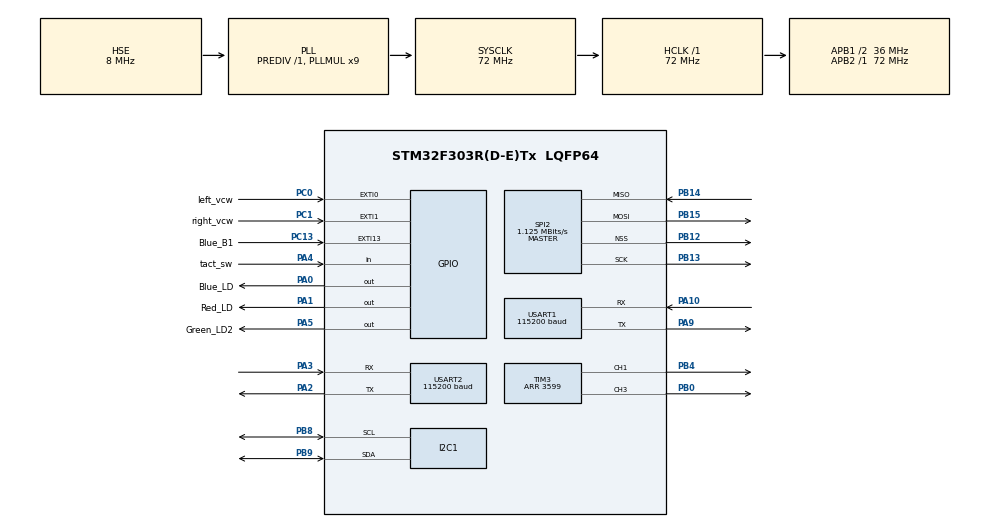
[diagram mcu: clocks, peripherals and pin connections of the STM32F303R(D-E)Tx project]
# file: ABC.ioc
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Dma.Request0=USART2_RX
Dma.Request1=USART2_TX
Dma.Request2=USART1_RX
Dma.Request3=USART1_TX
Dma.USART1_RX.2.Direction=DMA_PERIPH_TO_MEMORY
Dma.USART1_RX.2.Instance=DMA1_Channel5
Dma.USART1_RX.2.MemDataAlignment=DMA_MDATAALIGN_BYTE
Dma.USART1_RX.2.MemInc=DMA_MINC_ENABLE
Dma.USART1_RX.2.Mode=DMA_NORMAL
Dma.USART1_RX.2.PeriphDataAlignment=DMA_PDATAALIGN_BYTE
Dma.USART1_RX.2.PeriphInc=DMA_PINC_DISABLE
Dma.USART1_RX.2.Priority=DMA_PRIORITY_LOW
Dma.USART1_TX.3.Direction=DMA_MEMORY_TO_PERIPH
Dma.USART1_TX.3.Instance=DMA1_Channel4
Dma.USART1_TX.3.MemDataAlignment=DMA_MDATAALIGN_BYTE
Dma.USART1_TX.3.MemInc=DMA_MINC_ENABLE
Dma.USART1_TX.3.Mode=DMA_NORMAL
Dma.USART1_TX.3.PeriphDataAlignment=DMA_PDATAALIGN_BYTE
Dma.USART1_TX.3.PeriphInc=DMA_PINC_DISABLE
Dma.USART1_TX.3.Priority=DMA_PRIORITY_LOW
Dma.USART2_RX.0.Direction=DMA_PERIPH_TO_MEMORY
Dma.USART2_RX.0.Instance=DMA1_Channel6
Dma.USART2_RX.0.MemDataAlignment=DMA_MDATAALIGN_BYTE
Dma.USART2_RX.0.MemInc=DMA_MINC_ENABLE
Dma.USART2_RX.0.Mode=DMA_NORMAL
Dma.USART2_RX.0.PeriphDataAlignment=DMA_PDATAALIGN_BYTE
Dma.USART2_RX.0.PeriphInc=DMA_PINC_DISABLE
Dma.USART2_RX.0.Priority=DMA_PRIORITY_LOW
Dma.USART2_TX.1.Direction=DMA_MEMORY_TO_PERIPH
Dma.USART2_TX.1.Instance=DMA1_Channel7
Dma.USART2_TX.1.MemDataAlignment=DMA_MDATAALIGN_BYTE
Dma.USART2_TX.1.MemInc=DMA_MINC_ENABLE
Dma.USART2_TX.1.Mode=DMA_NORMAL
Dma.USART2_TX.1.PeriphDataAlignment=DMA_PDATAALIGN_BYTE
Dma.USART2_TX.1.PeriphInc=DMA_PINC_DISABLE
Dma.USART2_TX.1.Priority=DMA_PRIORITY_LOW
Mcu.Family=STM32F3
Mcu.Name=STM32F303R(D-E)Tx
Mcu.Package=LQFP64
NVIC.DMA1_Channel4_IRQn=true\:0\:0\:false\:false\:true\:false\:true\:true
NVIC.DMA1_Channel5_IRQn=true\:0\:0\:false\:false\:true\:false\:true\:true
NVIC.DMA1_Channel6_IRQn=true\:0\:0\:false\:false\:true\:false\:true\:true
NVIC.DMA1_Channel7_IRQn=true\:0\:0\:false\:false\:true\:false\:true\:true
NVIC.EXTI0_IRQn=true\:0\:0\:false\:false\:true\:true\:true\:true
NVIC.EXTI15_10_IRQn=true\:0\:0\:false\:false\:true\:true\:true\:true
NVIC.EXTI1_IRQn=true\:0\:0\:false\:false\:true\:true\:true\:true
NVIC.PriorityGroup=NVIC_PRIORITYGROUP_4
NVIC.SPI2_IRQn=true\:0\:0\:false\:false\:true\:true\:true\:true
NVIC.USART1_IRQn=true\:0\:0\:false\:false\:true\:true\:true\:true
NVIC.USART2_IRQn=true\:0\:0\:false\:false\:true\:true\:true\:true
PA0.GPIO_Label=Blue_LD
PA0.GPIO_ModeDefaultOutputPP=GPIO_MODE_OUTPUT_OD
PA0.GPIO_PuPd=GPIO_NOPULL
PA0.PinState=GPIO_PIN_RESET
PA0.Signal=GPIO_Output
PA1.GPIO_Label=Red_LD
PA1.GPIO_ModeDefaultOutputPP=GPIO_MODE_OUTPUT_OD
PA1.GPIO_PuPd=GPIO_NOPULL
PA1.Signal=GPIO_Output
PA10.Mode=Asynchronous
PA10.Signal=USART1_RX
PA13.Mode=Trace_Asynchronous_SW
PA13.Signal=SYS_JTMS-SWDIO
PA14.Mode=Trace_Asynchronous_SW
PA14.Signal=SYS_JTCK-SWCLK
PA2.Mode=Asynchronous
PA2.Signal=USART2_TX
PA3.Mode=Asynchronous
PA3.Signal=USART2_RX
PA4.GPIO_Label=tact_sw
PA4.Signal=GPIO_Input
PA5.GPIO_Label=Green_LD2
PA5.Signal=GPIO_Output
PA9.Mode=Asynchronous
PA9.Signal=USART1_TX
PB0.Signal=S_TIM3_CH3
PB12.Mode=NSS_Signal_Hard_Output
PB12.Signal=SPI2_NSS
PB13.Mode=Full_Duplex_Master
PB13.Signal=SPI2_SCK
PB14.Mode=Full_Duplex_Master
PB14.Signal=SPI2_MISO
PB15.Mode=Full_Duplex_Master
PB15.Signal=SPI2_MOSI
PB3.Mode=Trace_Asynchronous_SW
PB3.Signal=SYS_JTDO-TRACESWO
PB4.Signal=S_TIM3_CH1
PB8.Mode=I2C
PB8.Signal=I2C1_SCL
PB9.Mode=I2C
PB9.Signal=I2C1_SDA
PC0.GPIO_Label=left_vcw
PC0.GPIO_ModeDefaultEXTI=GPIO_MODE_IT_RISING_FALLING
PC0.Signal=GPXTI0
PC1.GPIO_Label=right_vcw
PC1.GPIO_ModeDefaultEXTI=GPIO_MODE_IT_RISING_FALLING
PC1.Signal=GPXTI1
PC13.GPIO_Label=Blue_B1
PC13.GPIO_ModeDefaultEXTI=GPIO_MODE_IT_FALLING
PC13.Signal=GPXTI13
PC14-OSC32_IN.Mode=LSE-External-Oscillator
PC14-OSC32_IN.Signal=RCC_OSC32_IN
PC15-OSC32_OUT.Mode=LSE-External-Oscillator
PC15-OSC32_OUT.Signal=RCC_OSC32_OUT
PF0-OSC_IN.Mode=HSE-External-Clock-Source
PF0-OSC_IN.Signal=RCC_OSC_IN
ProjectManager.HeapSize=0x200
ProjectManager.StackSize=0x400
ProjectManager.TargetToolchain=STM32CubeIDE
RCC.AHBFreq_Value=72000000
RCC.APB1CLKDivider=RCC_HCLK_DIV2
RCC.APB1Freq_Value=36000000
RCC.APB1TimFreq_Value=72000000
RCC.APB2Freq_Value=72000000
RCC.APB2TimFreq_Value=72000000
RCC.CortexFreq_Value=72000000
RCC.HCLKFreq_Value=72000000
RCC.HSE_VALUE=8000000
RCC.HSI_VALUE=8000000
RCC.PLLMUL=RCC_PLL_MUL9
RCC.PLLSourceVirtual=RCC_PLLSOURCE_HSE
RCC.SYSCLKFreq_VALUE=72000000
RCC.SYSCLKSourceVirtual=RCC_SYSCLKSOURCE_PLLCLK
RCC.USBFreq_Value=72000000
SH.S_TIM3_CH1.0=TIM3_CH1,PWM Generation1 CH1
SH.S_TIM3_CH3.0=TIM3_CH3,PWM Generation3 CH3
SPI2.BaudRatePrescaler=SPI_BAUDRATEPRESCALER_32
SPI2.CLKPhase=SPI_PHASE_2EDGE
SPI2.CLKPolarity=SPI_POLARITY_HIGH
SPI2.CalculateBaudRate=1.125 MBits/s
SPI2.DataSize=SPI_DATASIZE_8BIT
SPI2.Direction=SPI_DIRECTION_2LINES
SPI2.Mode=SPI_MODE_MASTER
SPI2.VirtualNSS=VM_NSSHARD
SPI2.VirtualType=VM_MASTER
TIM3.AutoReloadPreload=TIM_AUTORELOAD_PRELOAD_ENABLE
TIM3.Channel-PWM\ Generation1\ CH1=TIM_CHANNEL_1
TIM3.Channel-PWM\ Generation3\ CH3=TIM_CHANNEL_3
TIM3.OC1Preload_PWM=DISABLE
TIM3.OC3Preload_PWM=DISABLE
TIM3.Period=3599
TIM3.Pulse-PWM\ Generation1\ CH1=900
TIM3.Pulse-PWM\ Generation3\ CH3=900
USART1.BaudRate=115200
USART1.VirtualMode-Asynchronous=VM_ASYNC
USART2.BaudRate=115200
USART2.VirtualMode-Asynchronous=VM_ASYNC
VP_TIM3_VS_ClockSourceINT.Mode=Internal
board=custom

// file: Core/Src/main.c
/* USER CODE BEGIN Header */
/**
  ******************************************************************************
  * @file           : main.c
  * @brief          : Main program body
  ******************************************************************************
  * @attention
  *
  * Copyright (c) 2022 STMicroelectronics.
  * All rights reserved.
  *
  * This software is licensed under terms that can be found in the LICENSE file
  * in the root directory of this software component.
  * If no LICENSE file comes with this software, it is provided AS-IS.
  *
  ******************************************************************************
  */
/* USER CODE END Header */
#include "main.h"

/* USER CODE BEGIN Includes */
#include <stdio.h>
#include <string.h>
#include <ctype.h>
#include "liquidcrystal_i2c.h"
//#include "esp_webserver_html.h"
#include "esp_webserver_uart_ring_buffer_pixy.h"
/* USER CODE END Includes */

/* USER CODE BEGIN PD */
#define LONG_DELAY 1000 // 1 second delay
#define MEDIUM_DELAY 500 // 0.5 seconds delay
#define SHORT_DELAY 250 // 0.25 seconds delay

/* USER CODE END PD */

I2C_HandleTypeDef hi2c1;

SPI_HandleTypeDef hspi2;

TIM_HandleTypeDef htim3;

UART_HandleTypeDef huart1;
UART_HandleTypeDef huart2;
DMA_HandleTypeDef hdma_usart1_rx;
DMA_HandleTypeDef hdma_usart1_tx;
DMA_HandleTypeDef hdma_usart2_rx;
DMA_HandleTypeDef hdma_usart2_tx;

/* USER CODE BEGIN PV */
volatile uint16_t delay_value = LONG_DELAY; // 1 second blink

uint8_t buffArray[2][MaxBufferSize]; 	// buffer[0,*] is for UART1
										// buffer[1,*] is for UART2
uint8_t spiBuffArray[MaxSpiSize];		// buffer for SPI2 Rx
uint8_t stateMachine = TEST;	// Initialize State Machine at TEST mode
uint16_t autoServerSize = 0;
uint8_t buffer[4500]="";
uint8_t tpixBuffer[26]="";	// SPI2 C_Passed/C_Failed
uint8_t leftmotbuff[20] = "";
uint8_t rightmotbuff[20] = "";

uint32_t BufferTick;
PixyState pixyState;
UartState uartState[2];
StateFlags stateFlag;
WebRequest webRequest;
MotorState motorState;
MotorCmd motorCmd;
VCWState leftVCW;
VCWState rightVCW;
PIDState pidState;

/* Hexadecimal Arrays for Pixy Commands */
uint8_t pixyGetVersion[4] 		      = {0xAE, 0xC1, 0x0E, 0x00};
uint8_t pixySetLamp[6] 			      = {0xAE, 0xC1, 0x16, 0x02, 0x01, 0x01};
uint8_t pixyGetMainFeatures[6] 	      = {0xAE, 0xC1, 0x30, 0x02, 0x00, 0x07};
uint8_t pixyGetAllFeatures[6] 	      = {0xAE, 0xC1, 0x30, 0x02, 0x01, 0x07};
uint8_t pixyIntersectionTurnLeft[6]   = {0xAE, 0xC1, 0x3A, 0x02, 0x3C, 0x00};
uint8_t pixyIntersectionTurnRight[6]  = {0xAE, 0xC1, 0x3A, 0x02, 0xC4, 0xFF};
uint8_t pixyIntersectionGoStraight[6] = {0xAE, 0xC1, 0x3A, 0x02, 0x00, 0x00};

uint8_t pixySetLampFlag = FALSE;
/* USER CODE END PV */

void SystemClock_Config(void);
static void MX_GPIO_Init(void);
static void MX_DMA_Init(void);
static void MX_USART2_UART_Init(void);
static void MX_USART1_UART_Init(void);
static void MX_I2C1_Init(void);
static void MX_SPI2_Init(void);
static void MX_TIM3_Init(void);
/* USER CODE BEGIN PFP */
int _write(int file, char *ptr, int len);
void GetExpiryValTick(uint32_t * maxTickVal, uint32_t delayMs);
/* USER CODE END PFP */

/* USER CODE BEGIN 0 */
int _write(int file, char *ptr, int len)
{
	int DataIdx;

	for (DataIdx = 0; DataIdx < len; DataIdx++)
	{
		//__io_putchar(*ptr++);
		ITM_SendChar(*ptr++);
	}
	return len;
}
void HAL_GPIO_EXTI_Callback(uint16_t GPIO_Pin)
{
	switch(GPIO_Pin) {
		case Blue_B1_Pin:
			//UNUSED(GPIO_Pin);
			 switch (delay_value) {
				  case LONG_DELAY: delay_value = MEDIUM_DELAY;break;
				  case MEDIUM_DELAY: delay_value = SHORT_DELAY;break;
				  default: delay_value = LONG_DELAY;break;
			  }
			 printf("The blink duration is %u milliseconds.\n", delay_value);
			 break;

		 case left_vcw_Pin:
			if(HAL_GPIO_ReadPin(left_vcw_GPIO_Port, left_vcw_Pin)){
				leftVCW.RiseCount++;
				leftVCW.RiseTime = uwTick;
//				printf("RiseTime: %d\r\n", leftVCW.RiseTime);
			}else{
				leftVCW.FallCount++;
				leftVCW.TimeDiff = uwTick - leftVCW.RiseTime;
//				printf("TimeDiff: %d\r\n", leftVCW.TimeDiff);
			}
			break;

		case right_vcw_Pin:
			if(HAL_GPIO_ReadPin(right_vcw_GPIO_Port, right_vcw_Pin)){
				rightVCW.RiseCount++;
				rightVCW.RiseTime = uwTick;
			}else{
				rightVCW.FallCount++;
				rightVCW.TimeDiff = uwTick - rightVCW.RiseTime;
			}
			break;
	}
}
void GetExpiryValTick(uint32_t * maxTickVal, uint32_t delayMs){
	uint32_t currentTick = uwTick;
	*maxTickVal = ((0xFFFFFFFF - currentTick) >= delayMs) ? (currentTick + delayMs) : 0xFFFFFFFF ;
}
/* USER CODE END 0 */

int main(void)
{

  /* MCU Configuration--------------------------------------------------------*/

  /* Reset of all peripherals, Initializes the Flash interface and the Systick. */
  HAL_Init();

  /* Configure the system clock */
  SystemClock_Config();

  /* Initialize all configured peripherals */
  MX_GPIO_Init();
  MX_DMA_Init();
  MX_USART2_UART_Init();
  MX_USART1_UART_Init();
  MX_I2C1_Init();
  MX_SPI2_Init();
  MX_TIM3_Init();
  /* USER CODE BEGIN 2 */
  uint32_t ExpiryTick;
  uint32_t AutoTick;

  Uart_Init();
  String_Init(buffer);
  Flag_Init();
  Pixy_Init();
  Motor_Init();

  HD44780_Init(2);
  HD44780_Clear();

  pidState.kp = 0.2;
  motorState.leftSpd = 900;
  motorState.rightSpd = 900;

  uint8_t IPbuffer[200];

  HAL_GPIO_WritePin(Blue_LD_GPIO_Port, Blue_LD_Pin, GPIO_PIN_SET);
  HAL_GPIO_WritePin(Red_LD_GPIO_Port, Red_LD_Pin, GPIO_PIN_SET);

  /* USER CODE END 2 */

  /* Infinite loop */
  /* USER CODE BEGIN WHILE */
  GetExpiryValTick(&AutoTick, 200);
  GetExpiryValTick(&ExpiryTick, (uint32_t) delay_value);
  while (1)
  {
	if (uwTick >= ExpiryTick){
	  HAL_GPIO_TogglePin(Green_LD2_GPIO_Port, Green_LD2_Pin);
	  GetExpiryValTick(&ExpiryTick, (uint32_t) delay_value);

//	  if(stateMachine == AUTO_LISTEN)
//	  {
//		printf("Main Vector XY: %u %u\r\n", pixyState.vectorX, pixyState.vectorY);
//		printf("Barcode ID: %u\r\n", pixyState.barcodeId);
//	  }
	}

	/* If UART Error when Rx, Abort */
	for (uint8_t nUART = 0; nUART <2; nUART++)
	{
		if (uartState[nUART].InError == TRUE)
		{
			printf("UART%d Error Code: \"%lu\" ", (nUART+1), uartState[nUART].huartAdd->ErrorCode);
			PrintError(uartState[nUART].huartAdd->ErrorCode, nUART);
			ClearAllData(nUART);
			memset(uartState[nUART].rxbufferAdd, 0, MaxBufferSize);
	        if(uartState[nUART].huartAdd->ErrorCode >= 0b00010000)
	        {
	        	HAL_DMA_Abort(uartState[nUART].rxdmaAdd);
	        }
	        HAL_UART_AbortReceive(uartState[nUART].huartAdd);
			uartState[nUART].rxState = Idle;
			uartState[nUART].InError = FALSE;
		}
	}

	/* Check for State Machine change prompt */
	if (uartState[UART2].rxState == TestAutoCheck){WordSearch(UART2);}

	/* TEST mode */
	if (stateMachine == TEST)
	{
		for (uint8_t nUART = 0; nUART <2; nUART++)
		{
			/* If RxIdle, Start Rx */
			if (uartState[nUART].rxState == Idle){StartReceiver(nUART);}

			/* If RxGotData & Size != 0 */
			if (uartState[nUART].rxState == GotData && uartState[nUART].dataSize!=0){
				RecordIntoCirc(nUART, FALSE);
				uartState[nUART].rxState = Idle;
			}
		}
		/* If TxIdle & Size > 0 */
		if (uartState[UART1].txState == Idle && uartState[UART2].circArray[uartState[UART2].txCircArrayPtr][Sz] > 0){
			Transmit(UART1, (uartState[UART1].txbufferAdd),uartState[UART2].circArray[uartState[UART2].txCircArrayPtr][Index],uartState[UART2].circArray[uartState[UART2].txCircArrayPtr][Sz], TRUE);
		}
		if (uartState[UART2].txState == Idle && uartState[UART1].circArray[uartState[UART1].txCircArrayPtr][Sz] > 0){
			Transmit(UART2, (uartState[UART2].txbufferAdd),uartState[UART1].circArray[uartState[UART1].txCircArrayPtr][Index],uartState[UART1].circArray[uartState[UART1].txCircArrayPtr][Sz], TRUE);
		}
	}

	/* AUTO mode Flag, call ESP Init */
	if (stateMachine == AUTO_SERVER)
	{
		Auto_Init(IPbuffer);
		if (stateFlag.rxFlag == 15)
		{
			/* if circular buffer completes, change to AUTO mode */
			if (uartState[UART1].rxCircArrayPtr == (uartState[UART1].txCircArrayPtr))
			{
//				ClearAllData(UART1);
				stateMachine = AUTO_LISTEN;
			}
		}

		for (uint8_t nUART = 0; nUART <2; nUART++)
		{
			/* If RxIdle, Start Rx */
			if (uartState[nUART].rxState == Idle){StartReceiver(nUART);}

			/* If RxGotData & Size != 0 */
			if (uartState[nUART].rxState == GotData && uartState[nUART].dataSize!=0){
				RecordIntoCirc(nUART, FALSE);
				uartState[nUART].rxState = Idle;
			}
		}
		/* If TxIdle & Size > 0 */
		if (uartState[UART1].txState == Idle && uartState[UART2].circArray[uartState[UART2].txCircArrayPtr][Sz] > 0){
			Transmit(UART1, (uartState[UART1].txbufferAdd),uartState[UART2].circArray[uartState[UART2].txCircArrayPtr][Index],uartState[UART2].circArray[uartState[UART2].txCircArrayPtr][Sz], TRUE);
		}
		if (uartState[UART2].txState == Idle && uartState[UART1].circArray[uartState[UART1].txCircArrayPtr][Sz] > 0){
			Transmit(UART2, (uartState[UART2].txbufferAdd),uartState[UART1].circArray[uartState[UART1].txCircArrayPtr][Index],uartState[UART1].circArray[uartState[UART1].txCircArrayPtr][Sz], TRUE);
		}
	}

	/* AUTO mode */
	if (stateMachine == AUTO_LISTEN)
	{
		/* If UART1 RxIdle, start Rx */
		if (uartState[UART1].rxState == Idle){StartReceiver(UART1);}

		/* If UART1 RxGotData & Size != 0 */
		if (uartState[UART1].rxState == GotData && uartState[UART1].dataSize!=0){
			RecordIntoCirc(UART1, TRUE);
			uartState[UART1].rxState = Idle;
		}

		/* If UART1 TxIdle */
		if (uartState[UART1].txState == Idle)
		{
			/* If UART1 TxCirc Size = 0 */
			if(uartState[UART1].circArray[uartState[UART1].txCircArrayPtr][Sz] > 0)
			{
				RequestHandle();
			}
		}
		/* If SPI2 Idle */
		if (pixyState.spiState == Idle)
		{
		/* Flush SPI2 Rx Buffer */
			memset(pixyState.rxbufferAdd, 0, MaxSpiSize);

			/* Set dataSize to Max SPI Size */
			pixyState.dataSize = MaxSpiSize;
			if (pixySetLampFlag == TRUE && pixyState.IntersectionDecision!= NONE)
			{
				switch(pixyState.IntersectionDecision)
				{
				case MOVE_FORWARD:
					HAL_SPI_Transmit_IT(pixyState.hspi, pixyState.IntersectionGoStraight, 6);
				case MOVE_LEFT:
					HAL_SPI_Transmit_IT(pixyState.hspi, pixyState.IntersectionTurnLeft, 6);
				case MOVE_RIGHT:
					HAL_SPI_Transmit_IT(pixyState.hspi, pixyState.IntersectionTurnRight, 6);
				}
				pixyState.IntersectionDecision = NONE;
			}
			else if(pixySetLampFlag == TRUE)
			{
//				if (uwTick >= AutoTick){
				/* Transmit GetAllFeatures */
				HAL_SPI_Transmit_IT(pixyState.hspi, pixyState.getAllFeatures, 6);
//				GetExpiryValTick(&AutoTick, (uint32_t) delay_value);
//				}
			}
			else
			{
				/* Transmit SetLamp */
				HAL_SPI_Transmit_IT(pixyState.hspi, pixyState.setLamp, 6);
				pixySetLampFlag = TRUE;
			}

			/* Set SPI2 to Busy */
			pixyState.spiState = Busy;
		}

		if(pixyState.spiState == Busy)
		{
			if(uwTick>=AutoTick)
			{
				HAL_SPI_Abort_IT(&hspi2);
				pixyState.spiState = Idle;
				GetExpiryValTick(&AutoTick, 500);
			}
		}

		/* If SPI2 GotData */
		if(pixyState.spiState == GotData)
		{
			/* Process Data */
			pixyState.spiChecksum = AFC1Search(pixyState.rxbufferAdd, 0, &pixyState.dataSize);

			/* Set SPI2 to Idle */
			pixyState.spiState = Idle;
		}
	}

	/* TPIX mode */
	if (stateMachine == TPIX)
	{
		/* If UART2 RxIdle, start Rx */
		if(uartState[UART2].rxState == Idle){StartReceiver(UART2);}

		/* If UART2 RxGotData */
		if (uartState[UART2].rxState == GotData)
		{
			/* Clear out buffer of Max SPI Size before receiving data */
			for(uint16_t i = uartState[UART2].rxbuffDex + uartState[UART2].dataSize; i < (MaxSpiSize + uartState[UART2].rxbuffDex); i++)
			{
				uartState[UART2].rxbufferAdd[i] = 0;
			}

			/* Set Size to Max SPI Size */
			uartState[UART2].dataSize = MaxSpiSize;
			RecordIntoCirc(UART2, FALSE);
		}

		/* If PixyIdle */
		if (pixyState.spiState == Idle)
		{
			/* If UART2 Circular Buffer is not empty */
			if (uartState[UART2].circArray[uartState[UART2].txCircArrayPtr][Sz]!=0)
			{
				/* Set Size to Max SPI Size */
				uartState[UART1].dataSize = MaxSpiSize;

				/* Transmit and Receive the Max SPI Size */
				HAL_SPI_TransmitReceive_IT(&hspi2, &(uartState[UART2].rxbufferAdd[uartState[UART2].circArray[uartState[UART2].txCircArrayPtr][Index]]), (uartState[UART1].rxbufferAdd + uartState[UART1].rxbuffDex), uartState[UART2].circArray[uartState[UART2].txCircArrayPtr][Sz]);

				/* Set SPI State to Busy */
				pixyState.spiState = Busy;

				/* Set UART2 Circular Buffer to empty */
				uartState[UART2].circArray[uartState[UART2].txCircArrayPtr][Sz] = 0;

				if (uartState[UART2].txCircArrayPtr == (CircSize - 1))
				{
					uartState[UART2].txCircArrayPtr = 0;
				}
				else
				{
					uartState[UART2].txCircArrayPtr+=1;
				}

				if(uartState[UART2].rxState == Wait)
				{
					uartState[UART2].rxState = GotData;
				}
			}
		}

		/* If PixyGotData */
		if (pixyState.spiState == GotData)
		{
			/* Search for header bytes, validate checksum */
			pixyState.spiChecksum = AFC1Search(&(uartState[UART1].rxbufferAdd[uartState[UART1].rxbuffDex]), &uartState[UART1].rxbuffDex, &uartState[UART1].dataSize);

			/* If checksum valid */
			if (pixyState.spiChecksum == 2)
			{
				strcpy((char*)(&(uartState[UART1].rxbufferAdd[uartState[UART1].rxbuffDex + uartState[UART1].dataSize])),(char*)&(tpixBuffer[13]));
			}

			/* If checksum invalid */
			if (pixyState.spiChecksum == 1)
			{
				strcpy((char*)(&(uartState[UART1].rxbufferAdd[uartState[UART1].rxbuffDex + uartState[UART1].dataSize])),(char*)&(tpixBuffer[0]));
			}

			/* If checksum was found */
			if (pixyState.spiChecksum > 0)
			{
				uartState[UART1].dataSize += 12;
				RecordIntoCirc(UART1,FALSE);
			}

			/* Set SPI State to Idle */
			pixyState.spiState = Idle;
		}

		/* If UART2 TxIdle */
		if (uartState[UART2].txState == Idle){
			if(uartState[UART1].circArray[uartState[UART1].txCircArrayPtr][Sz] > 0){
			Transmit(UART2, (uartState[UART2].txbufferAdd),uartState[UART1].circArray[uartState[UART1].txCircArrayPtr][Index],uartState[UART1].circArray[uartState[UART1].txCircArrayPtr][Sz], TRUE);
			}
		}
	}

	if (stateMachine == TMOT)
	{
		/* If UART2 RxIdle, start Rx */
		if (uartState[UART2].rxState == Idle){StartReceiver(UART2);}

		/* If UART2 RxGotData & Size != 0 */
		if (uartState[UART2].rxState == GotData && uartState[UART2].dataSize!=0){
			RecordIntoCirc(UART2, FALSE);
			uartState[UART2].rxState = Idle;
		}

		/* If UART2 TxIdle */
		if (uartState[UART2].txState == Idle && uartState[UART2].circArray[uartState[UART2].txCircArrayPtr][Sz] > 0)
		{
			MotorRequestHandle();
			VCW();
			if (uwTick >= BufferTick)
			{
				PID();
			}
		}
	}
    /* USER CODE END WHILE */

  }
}

void SystemClock_Config(void)
{
  RCC_OscInitTypeDef RCC_OscInitStruct = {0};
  RCC_ClkInitTypeDef RCC_ClkInitStruct = {0};
  RCC_PeriphCLKInitTypeDef PeriphClkInit = {0};

  /** Initializes the RCC Oscillators according to the specified parameters
  * in the RCC_OscInitTypeDef structure.
  */
  RCC_OscInitStruct.OscillatorType = RCC_OSCILLATORTYPE_HSI|RCC_OSCILLATORTYPE_HSE;
  RCC_OscInitStruct.HSEState = RCC_HSE_BYPASS;
  RCC_OscInitStruct.HSIState = RCC_HSI_ON;
  RCC_OscInitStruct.HSICalibrationValue = RCC_HSICALIBRATION_DEFAULT;
  RCC_OscInitStruct.PLL.PLLState = RCC_PLL_ON;
  RCC_OscInitStruct.PLL.PLLSource = RCC_PLLSOURCE_HSE;
  RCC_OscInitStruct.PLL.PLLMUL = RCC_PLL_MUL9;
  RCC_OscInitStruct.PLL.PREDIV = RCC_PREDIV_DIV1;
  if (HAL_RCC_OscConfig(&RCC_OscInitStruct) != HAL_OK)
  {
    Error_Handler();
  }

  /** Initializes the CPU, AHB and APB buses clocks
  */
  RCC_ClkInitStruct.ClockType = RCC_CLOCKTYPE_HCLK|RCC_CLOCKTYPE_SYSCLK
                              |RCC_CLOCKTYPE_PCLK1|RCC_CLOCKTYPE_PCLK2;
  RCC_ClkInitStruct.SYSCLKSource = RCC_SYSCLKSOURCE_PLLCLK;
  RCC_ClkInitStruct.AHBCLKDivider = RCC_SYSCLK_DIV1;
  RCC_ClkInitStruct.APB1CLKDivider = RCC_HCLK_DIV2;
  RCC_ClkInitStruct.APB2CLKDivider = RCC_HCLK_DIV1;

  if (HAL_RCC_ClockConfig(&RCC_ClkInitStruct, FLASH_LATENCY_2) != HAL_OK)
  {
    Error_Handler();
  }
  PeriphClkInit.PeriphClockSelection = RCC_PERIPHCLK_USART1|RCC_PERIPHCLK_USART2
                              |RCC_PERIPHCLK_I2C1|RCC_PERIPHCLK_TIM34;
  PeriphClkInit.Usart1ClockSelection = RCC_USART1CLKSOURCE_PCLK2;
  PeriphClkInit.Usart2ClockSelection = RCC_USART2CLKSOURCE_PCLK1;
  PeriphClkInit.I2c1ClockSelection = RCC_I2C1CLKSOURCE_HSI;
  PeriphClkInit.Tim34ClockSelection = RCC_TIM34CLK_HCLK;
  if (HAL_RCCEx_PeriphCLKConfig(&PeriphClkInit) != HAL_OK)
  {
    Error_Handler();
  }
}

static void MX_I2C1_Init(void)
{

  hi2c1.Instance = I2C1;
  hi2c1.Init.Timing = 0x2000090E;
  hi2c1.Init.OwnAddress1 = 0;
  hi2c1.Init.AddressingMode = I2C_ADDRESSINGMODE_7BIT;
  hi2c1.Init.DualAddressMode = I2C_DUALADDRESS_DISABLE;
  hi2c1.Init.OwnAddress2 = 0;
  hi2c1.Init.OwnAddress2Masks = I2C_OA2_NOMASK;
  hi2c1.Init.GeneralCallMode = I2C_GENERALCALL_DISABLE;
  hi2c1.Init.NoStretchMode = I2C_NOSTRETCH_DISABLE;
  if (HAL_I2C_Init(&hi2c1) != HAL_OK)
  {
    Error_Handler();
  }

  /** Configure Analogue filter
  */
  if (HAL_I2CEx_ConfigAnalogFilter(&hi2c1, I2C_ANALOGFILTER_ENABLE) != HAL_OK)
  {
    Error_Handler();
  }

  /** Configure Digital filter
  */
  if (HAL_I2CEx_ConfigDigitalFilter(&hi2c1, 0) != HAL_OK)
  {
    Error_Handler();
  }

}

static void MX_SPI2_Init(void)
{

  /* SPI2 parameter configuration*/
  hspi2.Instance = SPI2;
  hspi2.Init.Mode = SPI_MODE_MASTER;
  hspi2.Init.Direction = SPI_DIRECTION_2LINES;
  hspi2.Init.DataSize = SPI_DATASIZE_8BIT;
  hspi2.Init.CLKPolarity = SPI_POLARITY_HIGH;
  hspi2.Init.CLKPhase = SPI_PHASE_2EDGE;
  hspi2.Init.NSS = SPI_NSS_HARD_OUTPUT;
  hspi2.Init.BaudRatePrescaler = SPI_BAUDRATEPRESCALER_32;
  hspi2.Init.FirstBit = SPI_FIRSTBIT_MSB;
  hspi2.Init.TIMode = SPI_TIMODE_DISABLE;
  hspi2.Init.CRCCalculation = SPI_CRCCALCULATION_DISABLE;
  hspi2.Init.CRCPolynomial = 7;
  hspi2.Init.CRCLength = SPI_CRC_LENGTH_DATASIZE;
  hspi2.Init.NSSPMode = SPI_NSS_PULSE_DISABLE;
  if (HAL_SPI_Init(&hspi2) != HAL_OK)
  {
    Error_Handler();
  }

}

static void MX_TIM3_Init(void)
{

  TIM_ClockConfigTypeDef sClockSourceConfig = {0};
  TIM_MasterConfigTypeDef sMasterConfig = {0};
  TIM_OC_InitTypeDef sConfigOC = {0};

  htim3.Instance = TIM3;
  htim3.Init.Prescaler = 0;
  htim3.Init.CounterMode = TIM_COUNTERMODE_UP;
  htim3.Init.Period = 3599;
  htim3.Init.ClockDivision = TIM_CLOCKDIVISION_DIV1;
  htim3.Init.AutoReloadPreload = TIM_AUTORELOAD_PRELOAD_ENABLE;
  if (HAL_TIM_Base_Init(&htim3) != HAL_OK)
  {
    Error_Handler();
  }
  sClockSourceConfig.ClockSource = TIM_CLOCKSOURCE_INTERNAL;
  if (HAL_TIM_ConfigClockSource(&htim3, &sClockSourceConfig) != HAL_OK)
  {
    Error_Handler();
  }
  if (HAL_TIM_PWM_Init(&htim3) != HAL_OK)
  {
    Error_Handler();
  }
  sMasterConfig.MasterOutputTrigger = TIM_TRGO_RESET;
  sMasterConfig.MasterSlaveMode = TIM_MASTERSLAVEMODE_DISABLE;
  if (HAL_TIMEx_MasterConfigSynchronization(&htim3, &sMasterConfig) != HAL_OK)
  {
    Error_Handler();
  }
  sConfigOC.OCMode = TIM_OCMODE_PWM1;
  sConfigOC.Pulse = 900;
  sConfigOC.OCPolarity = TIM_OCPOLARITY_HIGH;
  sConfigOC.OCFastMode = TIM_OCFAST_DISABLE;
  if (HAL_TIM_PWM_ConfigChannel(&htim3, &sConfigOC, TIM_CHANNEL_1) != HAL_OK)
  {
    Error_Handler();
  }
  __HAL_TIM_DISABLE_OCxPRELOAD(&htim3, TIM_CHANNEL_1);
  if (HAL_TIM_PWM_ConfigChannel(&htim3, &sConfigOC, TIM_CHANNEL_3) != HAL_OK)
  {
    Error_Handler();
  }
  __HAL_TIM_DISABLE_OCxPRELOAD(&htim3, TIM_CHANNEL_3);
  HAL_TIM_MspPostInit(&htim3);

}

static void MX_USART1_UART_Init(void)
{

  huart1.Instance = USART1;
  huart1.Init.BaudRate = 115200;
  huart1.Init.WordLength = UART_WORDLENGTH_8B;
  huart1.Init.StopBits = UART_STOPBITS_1;
  huart1.Init.Parity = UART_PARITY_NONE;
  huart1.Init.Mode = UART_MODE_TX_RX;
  huart1.Init.HwFlowCtl = UART_HWCONTROL_NONE;
  huart1.Init.OverSampling = UART_OVERSAMPLING_16;
  huart1.Init.OneBitSampling = UART_ONE_BIT_SAMPLE_DISABLE;
  huart1.AdvancedInit.AdvFeatureInit = UART_ADVFEATURE_NO_INIT;
  if (HAL_UART_Init(&huart1) != HAL_OK)
  {
    Error_Handler();
  }

}

static void MX_USART2_UART_Init(void)
{

  huart2.Instance = USART2;
  huart2.Init.BaudRate = 115200;
  huart2.Init.WordLength = UART_WORDLENGTH_8B;
  huart2.Init.StopBits = UART_STOPBITS_1;
  huart2.Init.Parity = UART_PARITY_NONE;
  huart2.Init.Mode = UART_MODE_TX_RX;
  huart2.Init.HwFlowCtl = UART_HWCONTROL_NONE;
  huart2.Init.OverSampling = UART_OVERSAMPLING_16;
  huart2.Init.OneBitSampling = UART_ONE_BIT_SAMPLE_DISABLE;
  huart2.AdvancedInit.AdvFeatureInit = UART_ADVFEATURE_NO_INIT;
  if (HAL_UART_Init(&huart2) != HAL_OK)
  {
    Error_Handler();
  }

}

static void MX_DMA_Init(void)
{

  /* DMA controller clock enable */
  __HAL_RCC_DMA1_CLK_ENABLE();

  /* DMA interrupt init */
  /* DMA1_Channel4_IRQn interrupt configuration */
  HAL_NVIC_SetPriority(DMA1_Channel4_IRQn, 0, 0);
  HAL_NVIC_EnableIRQ(DMA1_Channel4_IRQn);
  /* DMA1_Channel5_IRQn interrupt configuration */
  HAL_NVIC_SetPriority(DMA1_Channel5_IRQn, 0, 0);
  HAL_NVIC_EnableIRQ(DMA1_Channel5_IRQn);
  /* DMA1_Channel6_IRQn interrupt configuration */
  HAL_NVIC_SetPriority(DMA1_Channel6_IRQn, 0, 0);
  HAL_NVIC_EnableIRQ(DMA1_Channel6_IRQn);
  /* DMA1_Channel7_IRQn interrupt configuration */
  HAL_NVIC_SetPriority(DMA1_Channel7_IRQn, 0, 0);
  HAL_NVIC_EnableIRQ(DMA1_Channel7_IRQn);

}

static void MX_GPIO_Init(void)
{
  GPIO_InitTypeDef GPIO_InitStruct = {0};

  /* GPIO Ports Clock Enable */
  __HAL_RCC_GPIOC_CLK_ENABLE();
  __HAL_RCC_GPIOF_CLK_ENABLE();
  __HAL_RCC_GPIOA_CLK_ENABLE();
  __HAL_RCC_GPIOB_CLK_ENABLE();

  /*Configure GPIO pin Output Level */
  HAL_GPIO_WritePin(GPIOA, Blue_LD_Pin|Red_LD_Pin|Green_LD2_Pin, GPIO_PIN_RESET);

  /*Configure GPIO pin : Blue_B1_Pin */
  GPIO_InitStruct.Pin = Blue_B1_Pin;
  GPIO_InitStruct.Mode = GPIO_MODE_IT_FALLING;
  GPIO_InitStruct.Pull = GPIO_NOPULL;
  HAL_GPIO_Init(Blue_B1_GPIO_Port, &GPIO_InitStruct);

  /*Configure GPIO pins : left_vcw_Pin right_vcw_Pin */
  GPIO_InitStruct.Pin = left_vcw_Pin|right_vcw_Pin;
  GPIO_InitStruct.Mode = GPIO_MODE_IT_RISING_FALLING;
  GPIO_InitStruct.Pull = GPIO_NOPULL;
  HAL_GPIO_Init(GPIOC, &GPIO_InitStruct);

  /*Configure GPIO pins : Blue_LD_Pin Red_LD_Pin */
  GPIO_InitStruct.Pin = Blue_LD_Pin|Red_LD_Pin;
  GPIO_InitStruct.Mode = GPIO_MODE_OUTPUT_OD;
  GPIO_InitStruct.Pull = GPIO_NOPULL;
  GPIO_InitStruct.Speed = GPIO_SPEED_FREQ_LOW;
  HAL_GPIO_Init(GPIOA, &GPIO_InitStruct);

  /*Configure GPIO pin : tact_sw_Pin */
  GPIO_InitStruct.Pin = tact_sw_Pin;
  GPIO_InitStruct.Mode = GPIO_MODE_INPUT;
  GPIO_InitStruct.Pull = GPIO_NOPULL;
  HAL_GPIO_Init(tact_sw_GPIO_Port, &GPIO_InitStruct);

  /*Configure GPIO pin : Green_LD2_Pin */
  GPIO_InitStruct.Pin = Green_LD2_Pin;
  GPIO_InitStruct.Mode = GPIO_MODE_OUTPUT_PP;
  GPIO_InitStruct.Pull = GPIO_NOPULL;
  GPIO_InitStruct.Speed = GPIO_SPEED_FREQ_LOW;
  HAL_GPIO_Init(Green_LD2_GPIO_Port, &GPIO_InitStruct);

  /* EXTI interrupt init*/
  HAL_NVIC_SetPriority(EXTI0_IRQn, 0, 0);
  HAL_NVIC_EnableIRQ(EXTI0_IRQn);

  HAL_NVIC_SetPriority(EXTI1_IRQn, 0, 0);
  HAL_NVIC_EnableIRQ(EXTI1_IRQn);

  HAL_NVIC_SetPriority(EXTI15_10_IRQn, 0, 0);
  HAL_NVIC_EnableIRQ(EXTI15_10_IRQn);

}

void Error_Handler(void)
{
  __disable_irq();
  while (1)
  {
  }
}
